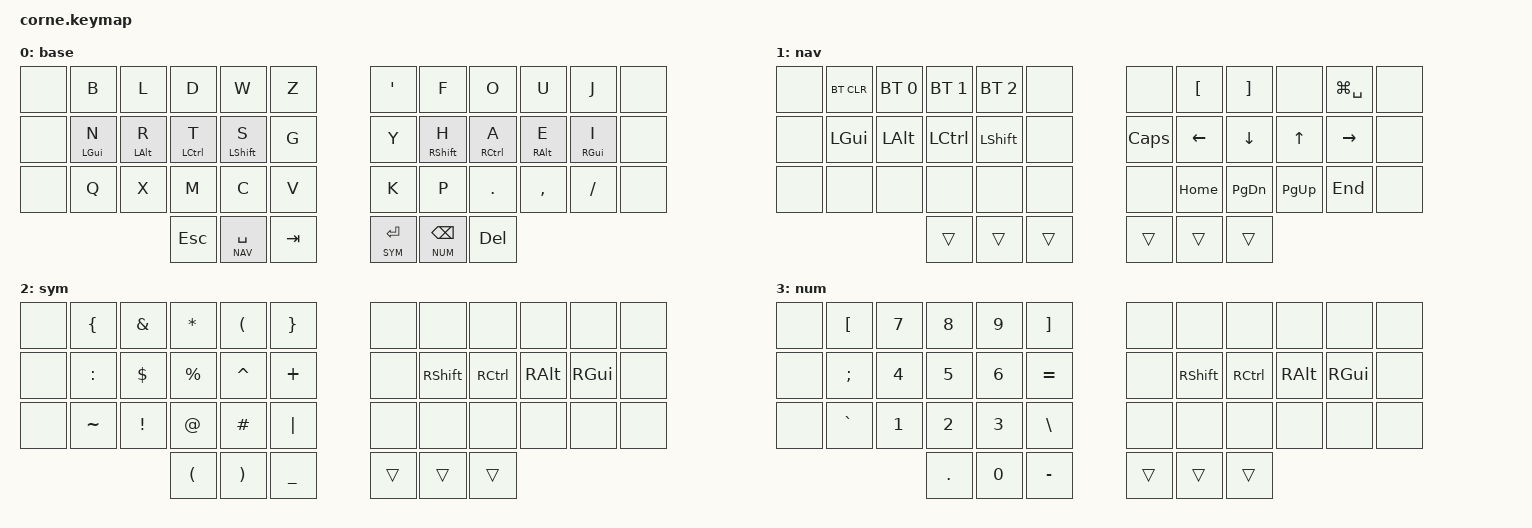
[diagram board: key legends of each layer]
/*
 * Copyright (c) 2020 The ZMK Contributors
 *
 * SPDX-License-Identifier: MIT
 */

#include <behaviors.dtsi>
#include <dt-bindings/zmk/bt.h>
#include <dt-bindings/zmk/keys.h>

#define BASE 0
#define NAV  1
#define SYM  2
#define NUM  3

/*
 * Thumb layer-taps. `balanced` is what keeps SPACE a space: a hold only
 * resolves if another key is pressed AND released while the thumb is still
 * down, so normal rollover (press space, press letter, lift space, lift
 * letter) resolves to a tap. The 280ms term is only the fallback for holding
 * a thumb alone; using a layer normally resolves immediately via `balanced`.
 */
&lt {
    flavor = "balanced";
    tapping-term-ms = <280>;
    quick-tap-ms = <200>;
    require-prior-idle-ms = <150>;
};

/ {
    behaviors {
        //                 Key positions
        //       0  1  2  3  4  5    6  7  8  9 10 11
        //      12 13 14 15 16 17   18 19 20 21 22 23
        //      24 25 26 27 28 29   30 31 32 33 34 35
        //               36 37 38   39 40 41

        hml: homerow_mods_left {
            compatible = "zmk,behavior-hold-tap";
            label = "HOMEROW_MODS_LEFT";
            #binding-cells = <2>;
            flavor = "tap-preferred";
            tapping-term-ms = <250>;
            quick-tap-ms = <160>;
            bindings = <&kp>, <&kp>;

            // all right-hand keys + own homerow (for mod chording) + all thumbs
            hold-trigger-key-positions = <
                                          6  7  8  9 10
                       13 14 15 16       18 19 20 21 22
                                         30 31 32 33 34
                             36 37 38    39 40 41
            >;
        };

        hmr: homerow_mods_right {
            compatible = "zmk,behavior-hold-tap";
            label = "HOMEROW_MODS_RIGHT";
            #binding-cells = <2>;
            flavor = "tap-preferred";
            tapping-term-ms = <250>;
            quick-tap-ms = <160>;
            bindings = <&kp>, <&kp>;

            // all left-hand keys + own homerow (for mod chording) + all thumbs
            hold-trigger-key-positions = <
                        1  2  3  4  5
                       13 14 15 16 17       19 20 21 22
                       25 26 27 28 29
                             36 37 38    39 40 41
            >;
        };
    };

    keymap {
        compatible = "zmk,keymap";

        // Graphite. Only deviation from stock: pos 33 is COMMA, not MINUS.
        // MINUS lives on the NUM thumb, UNDER on the SYM thumb.
        base {
            bindings = <
&none  &kp B            &kp L            &kp D         &kp W         &kp Z    &kp SQT  &kp F         &kp O         &kp U        &kp J        &none
&none  &hml LEFT_GUI N  &hml LEFT_ALT R  &hml LCTRL T  &hml LSHFT S  &kp G    &kp Y    &hmr RSHFT H  &hmr RCTRL A  &hmr RALT E  &hmr RGUI I  &none
&none  &kp Q            &kp X            &kp M         &kp C         &kp V    &kp K    &kp P         &kp DOT       &kp COMMA    &kp FSLH     &none
                                 &kp ESC  &lt NAV SPACE  &kp TAB      &lt SYM ENTER  &lt NUM BACKSPACE  &kp DEL
            >;
        };

        // Held by left-middle thumb. Content on the right hand, mods on the
        // left so Cmd+[ / Cmd+] is left-thumb + left-pinky + right-index.
        // Bluetooth sits on the same hand as the layer key, on purpose.
        nav {
            bindings = <
&none  &bt BT_CLR  &bt BT_SEL 0  &bt BT_SEL 1  &bt BT_SEL 2  &none    &none     &kp LBKT  &kp RBKT   &none      &kp LG(SPACE)  &none
&none  &kp LGUI    &kp LALT      &kp LCTRL     &kp LSHFT     &none    &kp CAPS  &kp LEFT  &kp DOWN   &kp UP     &kp RIGHT      &none
&none  &none       &none         &none         &none         &none    &none     &kp HOME  &kp PG_DN  &kp PG_UP  &kp END        &none
                                       &trans  &trans  &trans         &trans    &trans    &trans
            >;
        };

        // Held by right-inner thumb. Mirrors NUM: every key here is the
        // shifted twin of the NUM key in the same position.
        sym {
            bindings = <
&none  &kp LBRC   &kp AMPS  &kp ASTRK  &kp LPAR   &kp RBRC    &none  &none      &none      &none     &none     &none
&none  &kp COLON  &kp DLLR  &kp PRCNT  &kp CARET  &kp PLUS    &none  &kp RSHFT  &kp RCTRL  &kp RALT  &kp RGUI  &none
&none  &kp TILDE  &kp EXCL  &kp AT     &kp HASH   &kp PIPE    &none  &none      &none      &none     &none     &none
                                &kp LPAR  &kp RPAR  &kp UNDER      &trans  &trans  &trans
            >;
        };

        // Held by right-middle thumb.
        num {
            bindings = <
&none  &kp LBKT   &kp N7  &kp N8  &kp N9  &kp RBKT     &none  &none      &none      &none     &none     &none
&none  &kp SEMI   &kp N4  &kp N5  &kp N6  &kp EQUAL    &none  &kp RSHFT  &kp RCTRL  &kp RALT  &kp RGUI  &none
&none  &kp GRAVE  &kp N1  &kp N2  &kp N3  &kp BSLH     &none  &none      &none      &none     &none     &none
                                &kp DOT  &kp N0  &kp MINUS    &trans  &trans  &trans
            >;
        };
    };
};
